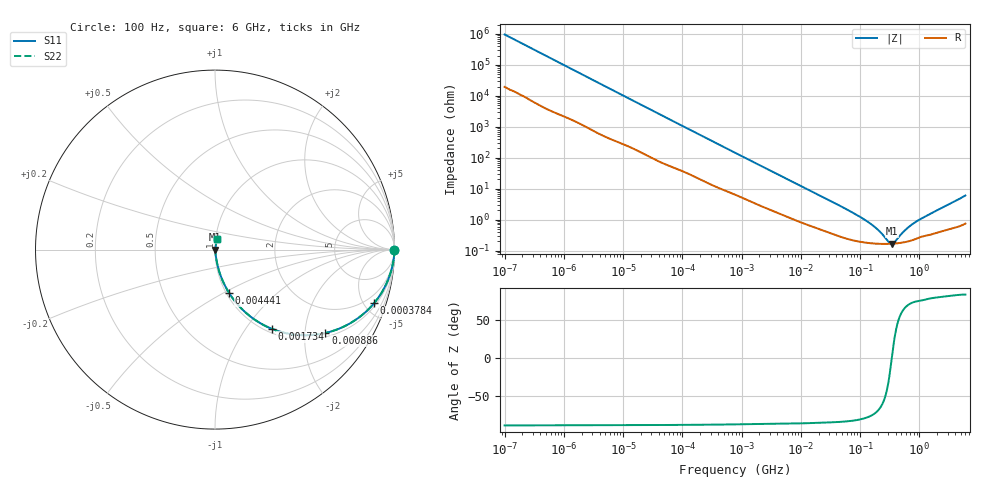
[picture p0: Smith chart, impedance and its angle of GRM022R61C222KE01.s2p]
!Murata Part Number: GRM022R61C222KE01
!These Parameters are Measured in Series Mode Connection
!Data Generated on Mar 30, 2021
!  o--ll--o
!Port1  Port2
!  o------o
!Operation Temp=25[degC], DC Bias Voltage=0[V]
!Freq. Start=100[Hz] Stop=6[GHz] 401[Steps]
# Hz S RI R 50
!Freq.(Hz) S11(Real) S11(Imag) S21(Real) S21(Imag) S12(Real) S12(Imag) S22(Real) S22(Imag)
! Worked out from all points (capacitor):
!   401 points, 100 Hz to 6 GHz, reference 50 ohm
!   read as one part in series: C = 1.64 nF near 109 Hz
!   lowest |Z| = 167 mohm at 341.7 MHz (marker M1)
!   series resonance near 344 MHz, so ESL is about 130 pH
!   S11 on the Smith chart (normalised r, x): 100 Hz: open; 378.4 kHz: 1.23, -5.84; 886 kHz: 1.12, -2.55; 1.734 MHz: 1.07, -1.33; 4.441 MHz: 1.03, -0.53; 6 GHz: 1.01, +0.12
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100  1 -0.000104  2.1e-06 0.000104  2.1e-06 0.000104  1 -0.000104
2008  0.9999 -0.002  5.08e-05 0.002  5.08e-05 0.002  0.9999 -0.002
40335  0.9974 -0.0381  0.00256 0.0381  0.00256 0.0381  0.9974 -0.0381
141303  0.9788 -0.1271  0.0212 0.1271  0.0212 0.1271  0.9788 -0.1271
378399  0.8862 -0.2989  0.1138 0.2989  0.1138 0.2989  0.8862 -0.2989
541393  0.7997 -0.3801  0.2003 0.3801  0.2003 0.3801  0.7997 -0.3801
774597  0.672 -0.4479  0.328 0.4479  0.328 0.4479  0.672 -0.4479
885955  0.6148 -0.4646  0.3852 0.4646  0.3852 0.4646  0.6148 -0.4646
1212075  0.4715 -0.4762  0.5285 0.4762  0.5285 0.4762  0.4715 -0.4762
1734173  0.3152 -0.4407  0.6848 0.4407  0.6848 0.4407  0.3152 -0.4407
2713602  0.1693 -0.3495  0.8307 0.3495  0.8307 0.3495  0.1693 -0.3495
4440638  0.079 -0.2424  0.921 0.2424  0.921 0.2424  0.079 -0.2424
1.555665e7  0.0121 -0.0782  0.9879 0.0782  0.9879 0.0782  0.0121 -0.0782
5.699437e7  0.00296 -0.0222  0.997 0.0222  0.997 0.0222  0.00296 -0.0222
1.220122e8  0.0019 -0.0095  0.9981 0.0095  0.9981 0.0095  0.0019 -0.0095
1.996653e8  0.00168 -0.00443  0.9983 0.00443  0.9983 0.00443  0.00168 -0.00443
3.124326e8  0.00165 -0.000748  0.9983 0.000748  0.9983 0.000748  0.00165 -0.000748
3.417016e8  0.00166 -5.19e-05  0.9983 5.19e-05  0.9983 5.19e-05  0.00166 -5.19e-05
3.908258e8  0.00169 0.000993  0.9983 -0.000993  0.9983 -0.000993  0.00169 0.000993
5.847788e8  0.00191 0.00429  0.9981 -0.00429  0.9981 -0.00429  0.00191 0.00429
8.749838e8  0.00244 0.00815  0.9976 -0.00815  0.9976 -0.00815  0.00244 0.00815
6e9  0.0109 0.0589  0.9891 -0.0589  0.9891 -0.0589  0.0109 0.0589
